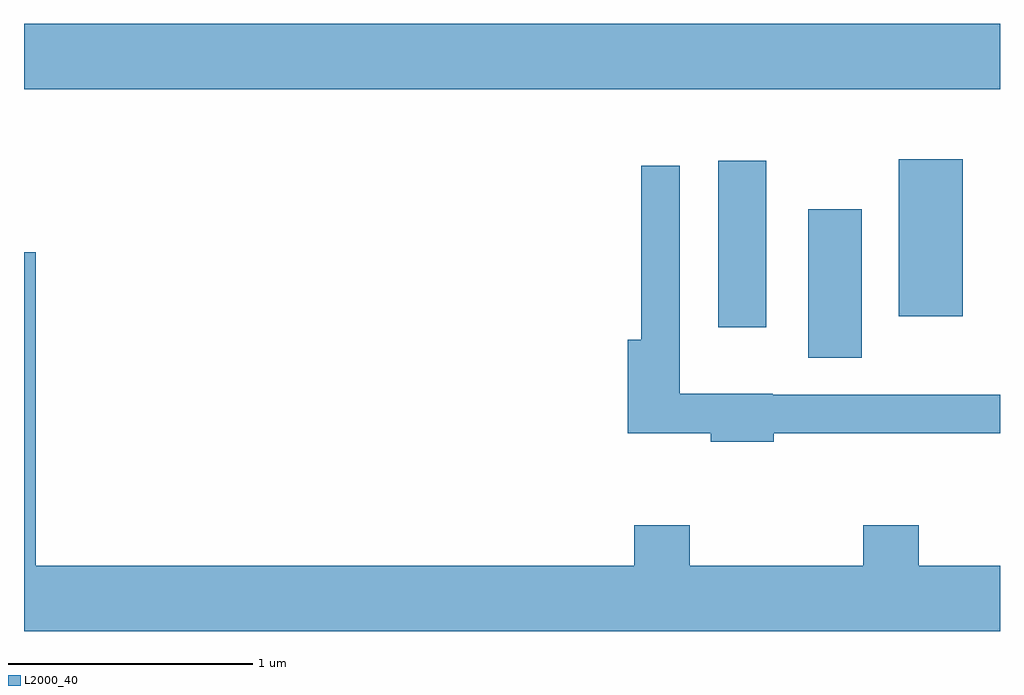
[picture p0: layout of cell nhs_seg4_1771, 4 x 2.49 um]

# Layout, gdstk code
import gdstk
lib = gdstk.Library(unit=1e-6, precision=1e-09)
def R(c, l, rs):  # rectangles x0, y0, x1, y1
    for r in rs: c.add(gdstk.rectangle(r[:2], r[2:], *l))
def P(c, l, *ps):  # polygons
    for p in ps: c.add(gdstk.Polygon(p, *l))
L2000_40 = (2000, 40)

nhs_seg4_1771 = lib.new_cell('nhs_seg4_1771')
R(nhs_seg4_1771, L2000_40, [(240.826,1262.556,241.044,1263.164), (240.456,1262.681,240.654,1263.364), (241.196,1262.726,241.459,1263.369), (237.611,1263.656,241.611,1263.924)])
P(nhs_seg4_1771, L2000_40, [(240.684,1262.246),(241.611,1262.246),(241.611,1262.404),(240.68,1262.404),(240.68,1262.409),(240.299,1262.409),(240.299,1263.343),(240.141,1263.343),(240.141,1262.629),(240.086,1262.629),(240.086,1262.246),(240.426,1262.246),(240.426,1262.211),(240.684,1262.211)],
  [(241.611,1261.704),(241.279,1261.704),(241.279,1261.869),(241.051,1261.869),(241.051,1261.704),(240.339,1261.704),(240.339,1261.869),(240.111,1261.869),(240.111,1261.704),(237.659,1261.704),(237.659,1262.989),(237.611,1262.989),(237.611,1261.436),(241.611,1261.436)])

lib.write_gds('nhs_seg4_1771.gds')
